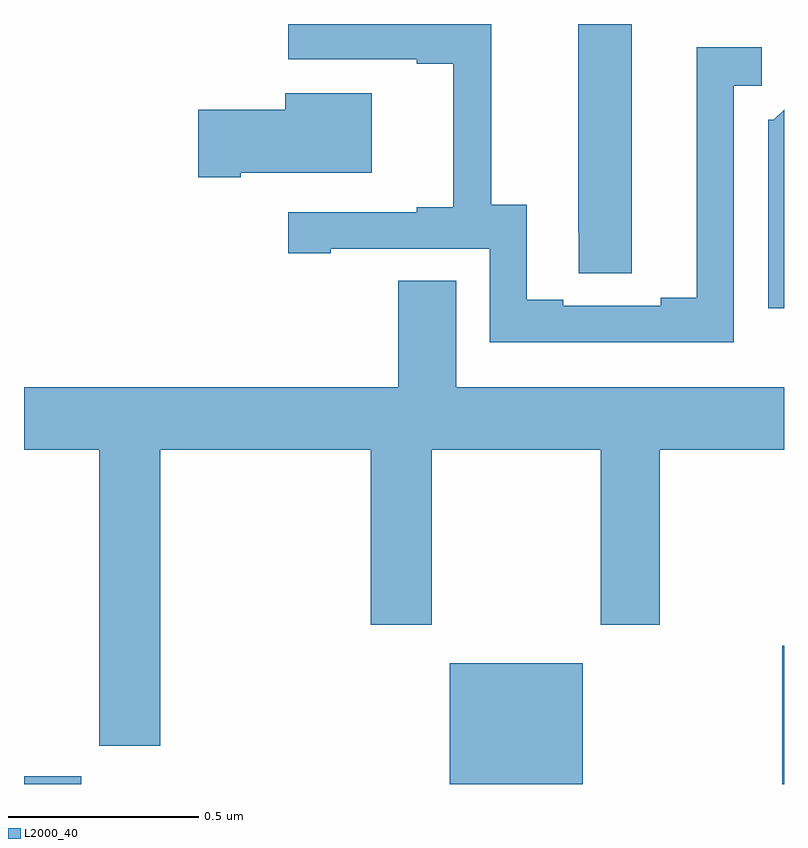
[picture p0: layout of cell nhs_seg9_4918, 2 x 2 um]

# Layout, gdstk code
import gdstk
lib = gdstk.Library(unit=1e-6, precision=1e-09)
def R(c, l, rs):  # rectangles x0, y0, x1, y1
    for r in rs: c.add(gdstk.rectangle(r[:2], r[2:], *l))
def P(c, l, *ps):  # polygons
    for p in ps: c.add(gdstk.Polygon(p, *l))
L2000_40 = (2000, 40)

nhs_seg9_4918 = lib.new_cell('nhs_seg9_4918')
R(nhs_seg9_4918, L2000_40, [(172,1235.5,172.15,1235.521), (173.12,1235.5,173.47,1235.818), (173.995,1235.5,174,1235.864)])
P(nhs_seg9_4918, L2000_40, [(173.599,1237.5),(173.459,1237.5),(173.459,1236.952),(173.46,1236.952),(173.46,1236.844),(173.599,1236.844)],
  [(173.868,1237.338),(173.941,1237.338),(173.941,1237.439),(173.771,1237.439),(173.771,1236.779),(173.675,1236.779),(173.675,1236.759),(173.419,1236.759),(173.419,1236.774),(173.323,1236.774),(173.323,1237.025),(173.229,1237.025),(173.229,1237.5),(172.695,1237.5),(172.695,1237.407),(173.033,1237.407),(173.033,1237.395),(173.129,1237.395),(173.129,1237.018),(173.033,1237.018),(173.033,1237.005),(172.695,1237.005),(172.695,1236.897),(172.807,1236.897),(172.807,1236.909),(173.226,1236.909),(173.226,1236.663),(173.868,1236.663)],
  [(172.57,1237.109),(172.915,1237.109),(172.915,1237.318),(172.688,1237.318),(172.688,1237.275),(172.458,1237.275),(172.458,1237.097),(172.57,1237.097)],
  [(174,1237.275),(173.973,1237.248),(173.958,1237.248),(173.958,1236.752),(174,1236.752)],
  [(172.358,1236.38),(172.913,1236.38),(172.913,1235.919),(173.073,1235.919),(173.073,1236.38),(173.518,1236.38),(173.518,1235.919),(173.673,1235.919),(173.673,1236.38),(174,1236.38),(174,1236.544),(173.137,1236.544),(173.137,1236.824),(172.985,1236.824),(172.985,1236.544),(172,1236.544),(172,1236.38),(172.198,1236.38),(172.198,1235.601),(172.358,1235.601)])

lib.write_gds('nhs_seg9_4918.gds')
